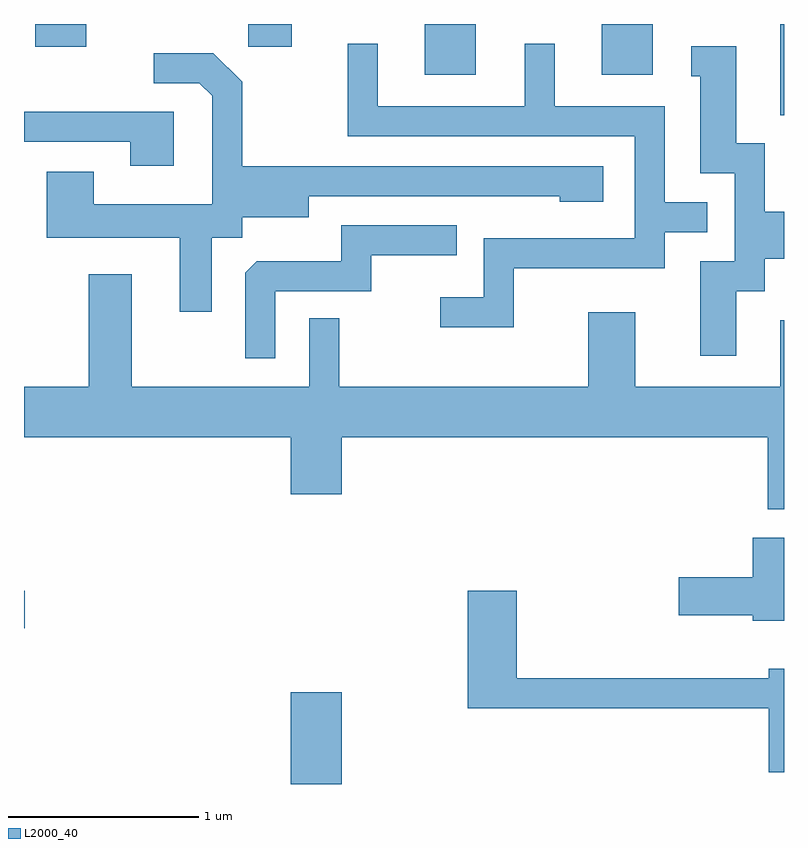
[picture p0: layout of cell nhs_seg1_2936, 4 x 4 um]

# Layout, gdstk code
import gdstk
lib = gdstk.Library(unit=1e-6, precision=1e-09)
def R(c, l, rs):  # rectangles x0, y0, x1, y1
    for r in rs: c.add(gdstk.rectangle(r[:2], r[2:], *l))
def P(c, l, *ps):  # polygons
    for p in ps: c.add(gdstk.Polygon(p, *l))
L2000_40 = (2000, 40)

nhs_seg1_2936 = lib.new_cell('nhs_seg1_2936')
R(nhs_seg1_2936, L2000_40, [(275.016,937.712,275.284,938.194), (273.611,938.531,273.614,938.729), (277.591,941.231,277.611,941.712), (275.721,941.446,275.989,941.712), (276.651,941.446,276.919,941.712), (273.671,941.591,273.939,941.712), (274.791,941.591,275.019,941.712)])
P(nhs_seg1_2936, L2000_40, [(276.189,940.426),(276.984,940.426),(276.984,940.616),(277.208,940.616),(277.208,940.774),(276.984,940.774),(276.984,941.279),(276.404,941.279),(276.404,941.608),(276.246,941.608),(276.246,941.279),(275.474,941.279),(275.474,941.608),(275.316,941.608),(275.316,941.121),(276.826,941.121),(276.826,940.584),(276.031,940.584),(276.031,940.274),(275.803,940.274),(275.803,940.116),(276.189,940.116)],
  [(277.359,940.306),(277.509,940.306),(277.509,940.476),(277.611,940.476),(277.611,940.724),(277.509,940.724),(277.509,941.084),(277.359,941.084),(277.359,941.594),(277.123,941.594),(277.123,941.436),(277.171,941.436),(277.171,940.926),(277.351,940.926),(277.351,940.464),(277.171,940.464),(277.171,939.966),(277.359,939.966)],
  [(274.599,940.586),(274.759,940.586),(274.759,940.696),(275.109,940.696),(275.109,940.806),(276.431,940.806),(276.431,940.776),(276.659,940.776),(276.659,940.964),(274.759,940.964),(274.759,941.407),(274.607,941.559),(274.293,941.559),(274.293,941.401),(274.534,941.401),(274.601,941.334),(274.601,940.764),(273.979,940.764),(273.979,940.934),(273.731,940.934),(273.731,940.586),(274.431,940.586),(274.431,940.198),(274.599,940.198)],
  [(274.399,941.249),(273.611,941.249),(273.611,941.091),(274.171,941.091),(274.171,940.966),(274.399,940.966)],
  [(274.934,940.306),(275.439,940.306),(275.439,940.496),(275.888,940.496),(275.888,940.654),(275.281,940.654),(275.281,940.464),(274.837,940.464),(274.776,940.404),(274.776,939.953),(274.934,939.953)],
  [(277.611,940.154),(277.591,940.154),(277.591,939.804),(276.829,939.804),(276.829,940.194),(276.581,940.194),(276.581,939.804),(275.269,939.804),(275.269,940.163),(275.111,940.163),(275.111,939.804),(274.179,939.804),(274.179,940.394),(273.951,940.394),(273.951,939.804),(273.611,939.804),(273.611,939.536),(275.016,939.536),(275.016,939.236),(275.284,939.236),(275.284,939.536),(277.526,939.536),(277.526,939.158),(277.611,939.158)],
  [(277.611,939.009),(277.446,939.009),(277.446,938.799),(277.056,938.799),(277.056,938.601),(277.446,938.601),(277.446,938.571),(277.611,938.571)],
  [(277.611,938.319),(277.531,938.319),(277.531,938.269),(276.204,938.269),(276.204,938.729),(275.946,938.729),(275.946,938.111),(277.531,938.111),(277.531,937.773),(277.611,937.773)])

lib.write_gds('nhs_seg1_2936.gds')
